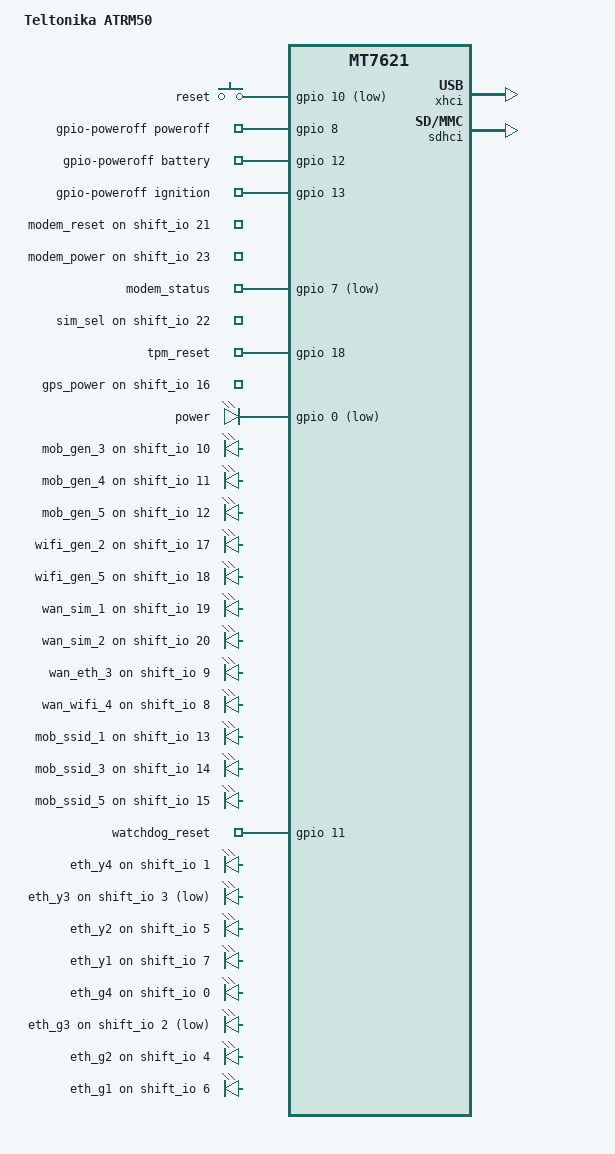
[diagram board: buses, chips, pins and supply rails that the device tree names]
#include "mt7621-teltonika-common.dtsi"
#include "mt7621-teltonika-rutm-flash.dtsi"
#include "common-mt7621/shiftreg.dtsi"
#include "common-mt7621/tpm.dtsi"

/ {
	compatible = "teltonika,atrm50", "mediatek,mt7621-soc";
	model = "Teltonika ATRM50";

	ext_io {
		cs-gpios = <&gpio 15 GPIO_ACTIVE_HIGH>;

		shift_io: shift_io@0 {
			registers-number = <3>;
			enable-gpios = <&gpio 16 GPIO_ACTIVE_LOW>;
		};
	};

	keys {
		compatible = "gpio-keys";

		reset {
			label = "reset";
			gpios = <&gpio 10 GPIO_ACTIVE_LOW>;
			linux,code = <KEY_RESTART>;
		};
	};

	gpio-poweroff {
		compatible = "gpio-poweroff";
		active-delay-ms = <300>;
		inactive-delay-ms = <200>;
		poweroff-gpios = <&gpio 8 GPIO_ACTIVE_HIGH>;
		battery-gpios = <&gpio 12 0>;
		ignition-gpios = <&gpio 13 0>;
	};

	gpio-export {
		compatible = "gpio-export";
		#size-cells = <0>;

		gpio_modem_reset {
			gpio-export,name = "modem_reset";
			gpio-export,output = <0>;
			gpios = <&shift_io 21 GPIO_ACTIVE_HIGH>;
		};

		gpio_modem_power {
			gpio-export,name = "modem_power";
			gpio-export,output = <0>;
			gpios = <&shift_io 23 GPIO_ACTIVE_HIGH>;
		};

		gpio_modem_status {
			gpio-export,name = "modem_status";
			gpio-export,input = <0>;
			gpios = <&gpio 7 GPIO_ACTIVE_LOW>;
		};

		gpio_sim_select {
			gpio-export,name = "sim_sel";
			gpio-export,output = <0>;
			gpios = <&shift_io 22 GPIO_ACTIVE_HIGH>;
		};

		gpio_tpm_reset {
			gpio-export,name = "tpm_reset";
			gpio-export,output = <1>;
			gpios = <&gpio 18 GPIO_ACTIVE_HIGH>;
		};

		gpio_gps_power {
			gpio-export,name = "gps_power";
			gpio-export,output = <1>;
			gpios = <&shift_io 16 GPIO_ACTIVE_HIGH>;
		};

	};

	leds {
		compatible = "gpio-leds";

		led_power {
			label = "power";
			gpios = <&gpio 0 GPIO_ACTIVE_LOW>;
			default-state = "on";
			retain-state-shutdown;
		};

		led_gen_3 {
			label = "mob_gen_3";
			gpios = <&shift_io 10 GPIO_ACTIVE_HIGH>;
		};

		led_gen_4 {
			label = "mob_gen_4";
			gpios = <&shift_io 11 GPIO_ACTIVE_HIGH>;
		};

		led_gen_5 {
			label = "mob_gen_5";
			gpios = <&shift_io 12 GPIO_ACTIVE_HIGH>;
		};

		led_wifi_24 {
			label = "wifi_gen_2";
			gpios = <&shift_io 17 GPIO_ACTIVE_HIGH>;
		};

		led_wifi_50 {
			label = "wifi_gen_5";
			gpios = <&shift_io 18 GPIO_ACTIVE_HIGH>;
		};

		led_wan_sim1 {
			label = "wan_sim_1";
			gpios = <&shift_io 19 GPIO_ACTIVE_HIGH>;
		};

		led_wan_sim2 {
			label = "wan_sim_2";
			gpios = <&shift_io 20 GPIO_ACTIVE_HIGH>;
		};

		led_wan_eth {
			label = "wan_eth_3";
			gpios = <&shift_io 9 GPIO_ACTIVE_HIGH>;
		};

		led_wan_wifi {
			label = "wan_wifi_4";
			gpios = <&shift_io 8 GPIO_ACTIVE_HIGH>;
		};

		led_ssid_1 {
			label = "mob_ssid_1";
			gpios = <&shift_io 13 GPIO_ACTIVE_HIGH>;
			linux,default-trigger = "timer"; // only
		};

		led_ssid_3 {
			label = "mob_ssid_3";
			gpios = <&shift_io 14 GPIO_ACTIVE_HIGH>;
			linux,default-trigger = "timer"; // only
		};

		led_ssid_5 {
			label = "mob_ssid_5";
			gpios = <&shift_io 15 GPIO_ACTIVE_HIGH>;
			linux,default-trigger = "timer"; //only
		};

		led_watchdog_reset {
			label = "watchdog_reset";
			gpios = <&gpio 11 GPIO_ACTIVE_HIGH>;
			linux,default-trigger = "timer"; // only
		};

		led_eth_y4 { // WAN
			label = "eth_y4";
			gpios = <&shift_io 1 GPIO_ACTIVE_HIGH>;
		};

		led_eth_y3 {
			label = "eth_y3";
			gpios = <&shift_io 3 GPIO_ACTIVE_LOW>;
		};

		led_eth_y2 {
			label = "eth_y2";
			gpios = <&shift_io 5 GPIO_ACTIVE_HIGH>;
		};

		led_eth_y1 {
			label = "eth_y1";
			gpios = <&shift_io 7 GPIO_ACTIVE_HIGH>;
		};

		led_eth_g4 { // WAN
			label = "eth_g4";
			gpios = <&shift_io 0 GPIO_ACTIVE_HIGH>;
		};

		led_eth_g3 {
			label = "eth_g3";
			gpios = <&shift_io 2 GPIO_ACTIVE_LOW>;
		};

		led_eth_g2 {
			label = "eth_g2";
			gpios = <&shift_io 4 GPIO_ACTIVE_HIGH>;
		};

		led_eth_g1 {
			label = "eth_g1";
			gpios = <&shift_io 6 GPIO_ACTIVE_HIGH>;
		};
	};

	tlt_gpios { // Modify according to wiki page "DTS syntax with Libgpiod changes"
		gpiochip_info {
			hw_0 {
				hwver = <0>;
				gpiochip_count = <4>;

				gpiochip_0 = <32>; // Built-in
				gpiochip_1 = <32>; // Built-in
				gpiochip_2 = <32>; // Built-in
				gpiochip_3 = <24>; // Shift Register
			};
		};

		ioman {
			GPIO_12 {
				line_name = "GPIO_IN_1";
			};
			GPIO_13 {
				line_name = "GPIO_IN_2";
			};
			GPIO_6 {
				line_name = "BAT_IGN_CLOCK";
			};
			GPIO_17 {
				line_name = "BAT_IGN_MODE";
			};
		};

		misc {
			GPIO_18 {
				line_name = "TPM_RESET";
			};
			GPIO_112 {
				line_name = "GPIO_GPS_POWER";
			};
			GPIO_117 {
				line_name = "GPIO_MODEM_RESET_1";
			};
			GPIO_118 {
				line_name = "GPIO_SIM_SELECT";
			};
			GPIO_119 {
				line_name = "GPIO_MODEM_POWER_1";
			};
		};
	};

	ioman {
		layout@0 {
			scheduler_disabled;
			io@0 {
				label = "bat";
				block_type = BLOCK_M12_4;
				default_direction = "in";
				block_pin = "4";
				gpio_in = "GPIO_IN_1";
			};
			io@1 {
				label = "ign";
				block_type = BLOCK_M12_4;
				default_direction = "in";
				block_pin = "3";
				gpio_in = "GPIO_IN_2";
			};
			io@2 { // index must be before "bat_ign_mode" to work properly
				label = "bat_ign_clock";
				default_direction = "out";
				gpio_out = "BAT_IGN_CLOCK";
			};
			io@3 {
				label = "bat_ign_mode";
				default_direction = "out";
				gpio_out = "BAT_IGN_MODE";
			};
		};
	};

	chosen {
		bootargs = "console=ttyS0,115200";
	};
};

&state_default {
	gpio {
		groups = "wdt", "jtag", "uart2", "uart3";
		function = "gpio";
	};
};

&xhci {
        status = "okay";
};

&sdhci {
        status = "okay";
};

&switch0 {
	ports {
		port@1 {
			status = "okay";
			label = "lan1";
		};

		port@2 {
			status = "okay";
			label = "lan2";
		};

		port@3 {
			status = "okay";
			label = "lan3";
		};
	};
};

&mnfinfo {
	sim_cfg {
		default = "1111100_1112000_1121200";
	};
};
